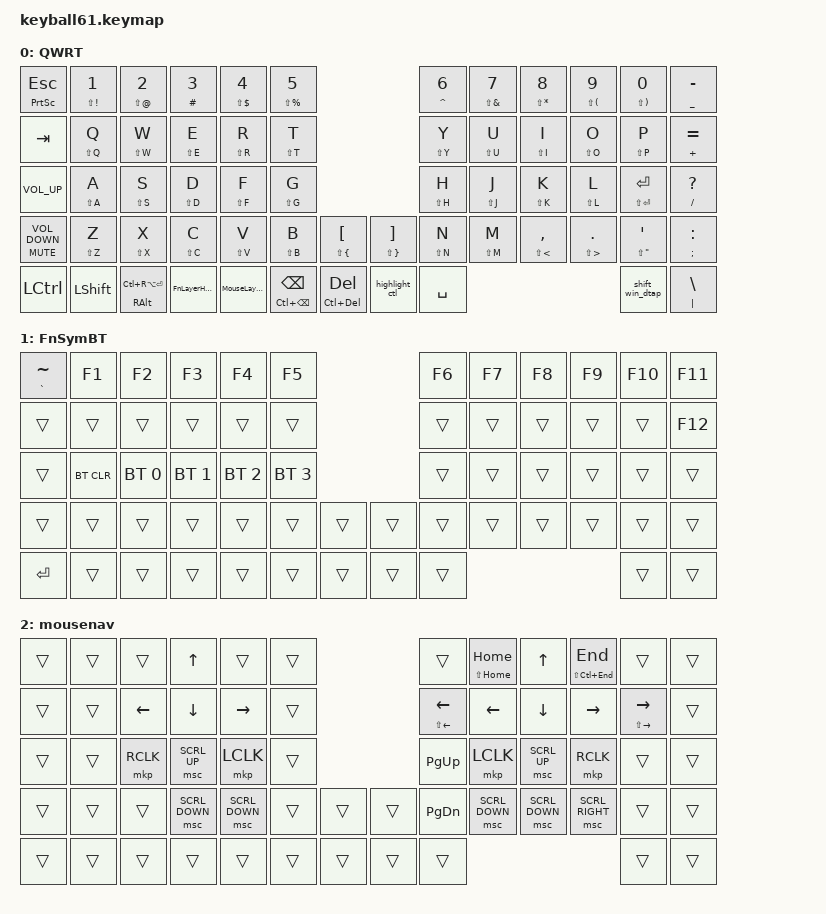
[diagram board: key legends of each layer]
#define DEFAULT 0
#define SYM     1
#define FUN     2
#define MOUSE   3
#define SCROLL  4
#define SNIPE   5

#include <behaviors/mouse_keys.dtsi>
#include <dt-bindings/zmk/mouse.h>
#include <behaviors.dtsi>
#include <dt-bindings/zmk/bt.h>
#include <dt-bindings/zmk/keys.h>
#include <dt-bindings/zmk/pointing.h>

&lt {
    tapping-term-ms = <200>;
    flavor = "balanced";
};

&mt {
    tapping-term-ms = <200>;
    flavor = "tap-preferred";
    quick-tap-ms = <0>;
};

/ {
    behaviors {
        highlight_ctl: highlight_ctl {
            compatible = "zmk,behavior-tap-dance";
            label = "HIGHLIGHT_CTL";
            #binding-cells = <0>;
            bindings = <&mt LEFT_CONTROL LC(RA(NUMBER_2))>, <&to 2>;
        };

        shift_win_dtap: shift_win_dtap {
            compatible = "zmk,behavior-tap-dance";
            label = "SHIFT_WIN_DTAP";
            #binding-cells = <0>;
            bindings = <&mt LEFT_SHIFT LEFT_SHIFT>, <&kp RIGHT_WIN>;
        };

        FnLayerHoldDtap: FnLayerHoldDtap {
            compatible = "zmk,behavior-tap-dance";
            label = "FNLAYERHOLDDTAP";
            #binding-cells = <0>;
            bindings = <&mo 1>, <&tog 1>;
        };

        MouseLayerHoldDtap: MouseLayerHoldDtap {
            compatible = "zmk,behavior-tap-dance";
            label = "MOUSELAYERHOLDDTAP";
            #binding-cells = <0>;
            bindings = <&mo 2>, <&trans>, <&tog 2>;
        };
    };

    keymap {
        compatible = "zmk,keymap";

        default_layer {
            label = "QWRT";
            bindings = <
&mt PRINTSCREEN ESCAPE    &mt LS(EXCLAMATION) NUMBER_1  &mt LS(AT_SIGN) NUMBER_2     &mt HASH NUMBER_3  &mt LS(DOLLAR) NUMBER_4  &mt LS(PERCENT) N5                                                                               &mt CARET N6  &mt LS(AMPERSAND) N7  &mt LS(ASTERISK) NUMBER_8  &mt LS(LEFT_PARENTHESIS) NUMBER_9  &mt LS(RIGHT_PARENTHESIS) NUMBER_0  &mt UNDERSCORE MINUS
&kp TAB                   &mt LS(Q) Q                   &mt LS(W) W                  &mt LS(E) E        &mt LS(R) R              &mt LS(T) T                                                                                      &mt LS(Y) Y   &mt LS(U) U           &mt LS(I) I                &mt LS(O) O                        &mt LS(P) P                         &mt PLUS EQUAL
&kp C_VOLUME_UP           &mt LS(A) A                   &mt LS(S) S                  &mt LS(D) D        &mt LS(F) F              &mt LS(G) G                                                                                      &mt LS(H) H   &mt LS(J) J           &mt LS(K) K                &mt LS(L) L                        &mt LS(RET) RET                     &mt SLASH QUESTION
&mt C_MUTE C_VOLUME_DOWN  &mt LS(Z) Z                   &mt LS(X) X                  &mt LS(C) C        &mt LS(V) V              &mt LS(B) B                  &mt LS(LEFT_BRACE) LEFT_BRACKET  &mt LS(RIGHT_BRACE) RIGHT_BRACKET  &mt LS(N) N   &mt LS(M) M           &mt LS(LESS_THAN) COMMA    &mt LS(GREATER_THAN) PERIOD        &mt LS(DOUBLE_QUOTES) SQT           &mt SEMICOLON COLON
&kp LEFT_CONTROL          &kp LEFT_SHIFT                &mt RIGHT_ALT LC(RA(ENTER))  &FnLayerHoldDtap   &MouseLayerHoldDtap      &mt LC(BACKSPACE) BACKSPACE  &mt LC(DELETE) DELETE            &highlight_ctl                     &kp SPACE                                                                                         &shift_win_dtap                     &mt PIPE BACKSLASH
            >;
        };

        FnSymBT_layer {
            bindings = <
&mt GRAVE TILDE  &kp F1      &kp F2        &kp F3        &kp F4        &kp F5                        &kp F6  &kp F7  &kp F8  &kp F9  &kp F10  &kp F11
&trans           &trans      &trans        &trans        &trans        &trans                        &trans  &trans  &trans  &trans  &trans   &kp F12
&trans           &bt BT_CLR  &bt BT_SEL 0  &bt BT_SEL 1  &bt BT_SEL 2  &bt BT_SEL 3                  &trans  &trans  &trans  &trans  &trans   &trans
&trans           &trans      &trans        &trans        &trans        &trans        &trans  &trans  &trans  &trans  &trans  &trans  &trans   &trans
&kp RET          &trans      &trans        &trans        &trans        &trans        &trans  &trans  &trans                          &trans   &trans
            >;

            label = "FnSymBT";
        };

        mouse-layer {
            label = "mousenav";
            bindings = <
&trans  &trans  &trans     &kp UP_ARROW    &trans          &trans                  &trans                   &mt LS(HOME) HOME  &kp UP_ARROW    &mt LS(LC(END)) END  &trans               &trans
&trans  &trans  &kp LEFT   &kp DOWN        &kp RIGHT       &trans                  &mt LS(LEFT) LEFT_ARROW  &kp LEFT           &kp DOWN_ARROW  &kp RIGHT_ARROW      &mt LS(RIGHT) RIGHT  &trans
&trans  &trans  &mkp RCLK  &msc SCRL_UP    &mkp LCLK       &trans                  &kp PG_UP                &mkp LCLK          &msc SCRL_UP    &mkp RCLK            &trans               &trans
&trans  &trans  &trans     &msc SCRL_DOWN  &msc SCRL_DOWN  &trans  &trans  &trans  &kp PAGE_DOWN            &msc SCRL_DOWN     &msc SCRL_DOWN  &msc SCRL_RIGHT      &trans               &trans
&trans  &trans  &trans     &trans          &trans          &trans  &trans  &trans  &trans                                                                           &trans               &trans
            >;
        };
    };
};
